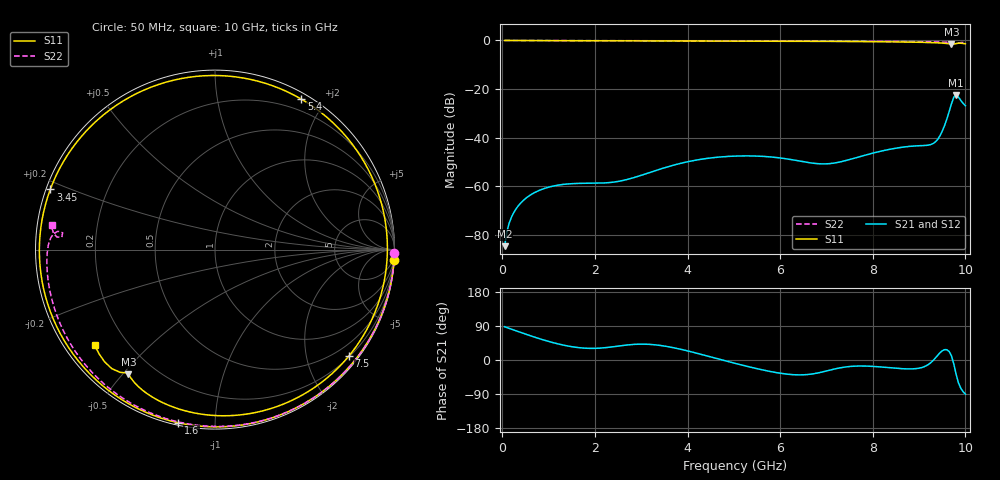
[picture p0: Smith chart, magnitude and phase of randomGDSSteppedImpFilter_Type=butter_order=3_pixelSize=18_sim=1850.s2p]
! freq	dB(S11)	phase(S11)	dB(S12)	phase(S12)
!  dB(S21)	phase(S21)	dB(S22)	phase(S22)
!S-par simulation data
#  GHz  S  DB  R 50
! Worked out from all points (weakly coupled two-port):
!   200 points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, 50 MHz to 10 GHz, reference 50 ohm
!   highest |S21| = -22.44 dB at 9.8 GHz (marker M1); lowest = -84.6 dB at 50 MHz (marker M2)
!   lowest |S11| = -1.5 dB at 9.7 GHz (marker M3), VSWR 11.99, Z = 5.3 - j25.9 ohm
!   |S11| at or under -10 dB: nowhere
!   |S22| runs from -1.4 to 0.0 dB; largest |S21 - S12| = 0
!   S11 on the Smith chart (normalised r, x): 50 MHz: 0, -34; 1.6 GHz: 0.01, -0.81; 3.45 GHz: 0.01, +0.18; 5.4 GHz: 0.07, +1.73; 7.5 GHz: 0.22, -2.84; 10 GHz: 0.09, -0.35
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0.05  -0.00 -3.4  -84.55 87.7  -84.55 87.7  -0.00 -1.1
0.25  -0.03 -17.0  -70.66 79.0  -70.66 79.0  -0.01 -5.3
0.55  -0.05 -36.9  -64.26 66.3  -64.26 66.3  -0.02 -11.5
1.1  -0.09 -72.1  -59.84 45.7  -59.84 45.7  -0.03 -23.0
1.6  -0.12 -102.0  -58.78 33.3  -58.78 33.3  -0.04 -33.2
1.75  -0.13 -110.6  -58.72 31.5  -58.72 31.5  -0.05 -36.3
2.6  -0.17 -156.6  -57.57 38.3  -57.57 38.3  -0.07 -53.2
3  -0.19 -177.2  -55.43 41.8  -55.43 41.8  -0.08 -61.0
3.4  -0.20 162.5  -52.94 38.6  -52.94 38.6  -0.09 -68.7
3.45  -0.20 160.0  -52.64 37.7  -52.64 37.7  -0.09 -69.6
4.3  -0.24 116.7  -48.81 14.7  -48.81 14.7  -0.12 -85.5
5.05  -0.28 78.1  -47.51 -9.6  -47.51 -9.6  -0.15 -99.2
5.4  -0.30 60.1  -47.47 -20.1  -47.47 -20.1  -0.17 -105.4
6.05  -0.32 27.4  -48.42 -35.8  -48.42 -35.8  -0.21 -116.9
6.7  -0.35 -3.6  -50.43 -36.7  -50.43 -36.7  -0.25 -128.4
7.5  -0.42 -38.6  -48.93 -17.2  -48.93 -17.2  -0.32 -142.6
8.35  -0.56 -72.2  -44.80 -20.2  -44.80 -20.2  -0.41 -158.1
9.35  -0.94 -110.8  -41.74 5.1  -41.74 5.1  -0.57 -178.1
9.5  -1.09 -117.1  -37.30 24.3  -37.30 24.3  -0.65 178.3
9.7  -1.45 -124.7  -26.00 10.7  -26.00 10.7  -1.10 173.3
9.8  -1.27 -127.7  -22.44 -38.0  -22.44 -38.0  -1.35 175.4
10  -1.35 -141.5  -26.82 -90.1  -26.82 -90.1  -0.73 171.3
